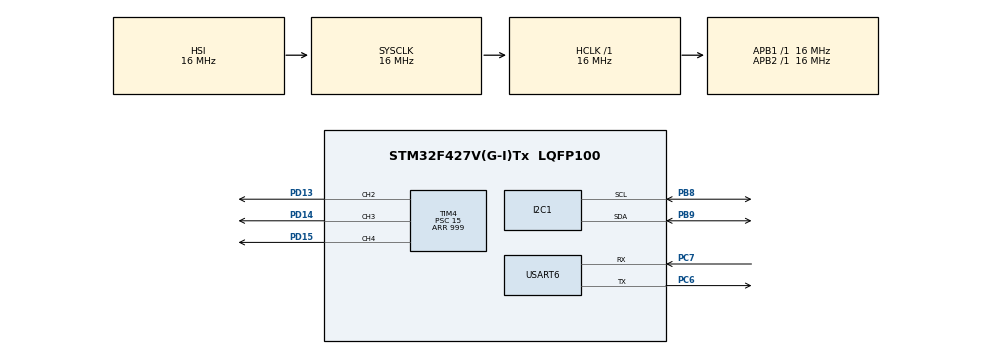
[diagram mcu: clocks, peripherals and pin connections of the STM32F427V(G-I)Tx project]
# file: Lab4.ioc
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I2C1.I2C_Mode=I2C_Fast
Mcu.Family=STM32F4
Mcu.Name=STM32F427V(G-I)Tx
Mcu.Package=LQFP100
NVIC.PriorityGroup=NVIC_PRIORITYGROUP_4
NVIC.TIM6_DAC_IRQn=true\:0\:0\:false\:false\:true\:true\:true\:true
NVIC.USART6_IRQn=true\:0\:0\:false\:false\:true\:true\:true\:true
PA13.Mode=JTAG_5_pins
PA13.Signal=SYS_JTMS-SWDIO
PA14.Mode=JTAG_5_pins
PA14.Signal=SYS_JTCK-SWCLK
PA15.Mode=JTAG_5_pins
PA15.Signal=SYS_JTDI
PB3.Mode=JTAG_5_pins
PB3.Signal=SYS_JTDO-SWO
PB4.Mode=JTAG_5_pins
PB4.Signal=SYS_JTRST
PB8.Mode=I2C
PB8.Signal=I2C1_SCL
PB9.Mode=I2C
PB9.Signal=I2C1_SDA
PC6.Mode=Asynchronous
PC6.Signal=USART6_TX
PC7.Mode=Asynchronous
PC7.Signal=USART6_RX
PD13.Signal=S_TIM4_CH2
PD14.Signal=S_TIM4_CH3
PD15.Signal=S_TIM4_CH4
ProjectManager.HeapSize=0x200
ProjectManager.StackSize=0x400
ProjectManager.TargetToolchain=STM32CubeIDE
RCC.AHBFreq_Value=16000000
RCC.APB1Freq_Value=16000000
RCC.APB2Freq_Value=16000000
RCC.CortexFreq_Value=16000000
RCC.HSE_VALUE=25000000
RCC.HSI_VALUE=16000000
RCC.LSE_VALUE=32768
RCC.SYSCLKFreq_VALUE=16000000
RCC.VCOOutputFreq_Value=192000000
SH.S_TIM4_CH2.0=TIM4_CH2,PWM Generation2 CH2
SH.S_TIM4_CH3.0=TIM4_CH3,PWM Generation3 CH3
SH.S_TIM4_CH4.0=TIM4_CH4,PWM Generation4 CH4
TIM4.Channel-PWM\ Generation2\ CH2=TIM_CHANNEL_2
TIM4.Channel-PWM\ Generation3\ CH3=TIM_CHANNEL_3
TIM4.Channel-PWM\ Generation4\ CH4=TIM_CHANNEL_4
TIM4.Period=999
TIM4.Prescaler=15
USART6.VirtualMode=VM_ASYNC
VP_TIM6_VS_ClockSourceINT.Mode=Enable_Timer
board=custom

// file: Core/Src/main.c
/* USER CODE BEGIN Header */
/**
  ******************************************************************************
  * @file           : main.c
  * @brief          : Main program body
  ******************************************************************************
  * @attention
  *
  * Copyright (c) 2024 STMicroelectronics.
  * All rights reserved.
  *
  * This software is licensed under terms that can be found in the LICENSE file
  * in the root directory of this software component.
  * If no LICENSE file comes with this software, it is provided AS-IS.
  *
  ******************************************************************************
  */
/* USER CODE END Header */
#include "main.h"
#include "i2c.h"
#include "tim.h"
#include "usart.h"
#include "gpio.h"

/* USER CODE BEGIN Includes */
#include "buf.h"
#include "btn.h"
#include "keyboard.h"
#include <stdio.h>
/* USER CODE END Includes */

/* USER CODE BEGIN PD */
#define ST_MAIN             0  /* main work mode */
#define ST_EDIT_WAIT_MODE   1  /* edit mode, wait for mode selection */
#define ST_EDIT_WAIT_LED    2  /* edit mode, wait for led selection */
#define ST_EDIT_WAIT_BRIGHT 3  /* edit mode, wait for led brightness selection */
#define ST_DEBUG            4  /* debug mode */
/* USER CODE END PD */

void SystemClock_Config(void);

/* USER CODE BEGIN 0 */
struct Buffer transmitBuffer = {0};

uint8_t char_buf[1] = {'\0'};

void transmit(uint8_t* data, size_t size) {
	if (HAL_UART_Transmit_IT(&huart6, data, size) == HAL_BUSY) {
		buf_push_itsafe(&transmitBuffer, data, size);
	}
}

void transmitc(char* data) {
	transmit((uint8_t*) data, strlen(data));
}

void HAL_UART_TxCpltCallback(UART_HandleTypeDef *huart) {
  uint8_t buf[1024];
  bool is_pop = buf_pop_itsafe(&transmitBuffer, buf, sizeof(buf));
  if (is_pop) {
	  HAL_UART_Transmit_IT(&huart6, buf, strlen((char*) buf));
  }
}

bool hello_print = false;

uint16_t mode_leds[9] = {0x1, 0x1, 0x1, 0x2, 0x2, 0x2, 0x4, 0x4, 0x4};
uint16_t mode_brightness[9] = {10, 40, 100, 10, 40, 100, 10, 40, 100};

uint16_t state = ST_MAIN;

size_t cur_mode = -1;

size_t edit_mode = 0;
uint16_t edit_mode_led = 0;
uint16_t edit_mode_brightness = 0;

void HAL_TIM_PeriodElapsedCallback(TIM_HandleTypeDef *htim) {
	  if (htim->Instance == TIM6) {
		  if (cur_mode != -1) {
			  if (cur_mode >= sizeof(mode_leds) / sizeof(uint16_t)) {
				  htim4.Instance->CCR2 = 0;
				  htim4.Instance->CCR3 = 0;
				  htim4.Instance->CCR4 = 0;
			  } else {
				  uint16_t leds = mode_leds[cur_mode];
				  uint16_t brightness = mode_brightness[cur_mode];

				  if ((leds & 0x1) != 0) {
					  htim4.Instance->CCR2 = brightness * 10;
				  } else {
					  htim4.Instance->CCR2 = 0;
				  }

				  if ((leds & 0x2) != 0) {
					  htim4.Instance->CCR3 = brightness * 10;
				  } else {
					  htim4.Instance->CCR3 = 0;
				  }

				  if ((leds & 0x4) != 0) {
					  htim4.Instance->CCR4 = brightness * 10;
				  } else {
					  htim4.Instance->CCR4 = 0;
				  }
			  }

			  cur_mode = -1;
		  }
	  }
}
/* USER CODE END 0 */

int main(void)
{

  /* MCU Configuration--------------------------------------------------------*/

  /* Reset of all peripherals, Initializes the Flash interface and the Systick. */
  HAL_Init();

  /* USER CODE BEGIN Init */
  buf_init(&transmitBuffer);
  /* USER CODE END Init */

  /* Configure the system clock */
  SystemClock_Config();

  /* Initialize all configured peripherals */
  MX_GPIO_Init();
  MX_TIM6_Init();
  MX_USART6_UART_Init();
  MX_TIM4_Init();
  MX_I2C1_Init();
  /* USER CODE BEGIN 2 */
  char leds_str(uint16_t leds) {
  	  if (leds == 0x1) return 'G';
  	  if (leds == 0x2) return 'Y';
  	  if (leds == 0x4) return 'R';
  	  return '?';
    }

    void print_mode_message() {
  	  char buf[256];

  	  char mode_leds_str[9] = {0};
  	  for (size_t i = 0; i < sizeof(mode_leds_str); i++) {
  		  mode_leds_str[i] = leds_str(mode_leds[i]);
  	  }

  	  char format[] = "Modes:\n\r1-%c%d\n\r2-%c%d\n\r3-%c%d\n\r4-%c%d\n\r5-%c%d\n\r6-%c%d\n\r7-%c%d\n\r8-%c%d\n\r9-%c%d\n\r> ";

  	  snprintf(buf, sizeof(buf), format,
  			  mode_leds_str[0], mode_brightness[0], mode_leds_str[1], mode_brightness[1], mode_leds_str[2], mode_brightness[2],
  			  mode_leds_str[3], mode_brightness[3], mode_leds_str[4], mode_brightness[4], mode_leds_str[5], mode_brightness[5],
  			  mode_leds_str[6], mode_brightness[6], mode_leds_str[7], mode_brightness[7], mode_leds_str[8], mode_brightness[8]);

  	  transmitc(buf);
    }

    void handle_command(char cmd) {
  	  if (state == ST_MAIN) {
  		  if (cmd >= '1' && cmd <= '9') {
  			  cur_mode = (cmd - '1');
  			  char buf[32];
  			  snprintf(buf, sizeof(buf), "Mode %c selected\n\r> ", cmd);
  			  transmitc(buf);
  		  } else if (cmd == '0') {
  			  cur_mode = 100;
  			  transmitc("All LEDs off\n\r> ");
  		  } else if (cmd == '\r') {
  			  state = ST_EDIT_WAIT_MODE;
  			  edit_mode = -1;
  			  transmitc("Enter edit mode\n\rChoose mode to edit [1-9]: ");
  		  } else {
  			  transmitc("Unknown command (available: 1-9,0,Enter)\n\r> ");
  		  }
  	  } else if (state == ST_EDIT_WAIT_MODE) {
  		  if (cmd >= '1' && cmd <= '9') {
  			  edit_mode = (cmd - '1');
  			  char buf[128];
  			  snprintf(buf, sizeof(buf), "Selected %c. Enter or choose another mode [1-9]: ", ('1' + edit_mode));
  			  transmitc(buf);
  		  } else if (cmd == '\r') {
  			  if (edit_mode == -1) {
  				  transmitc("No mode selected. Choose mode to edit [1-9]: ");
  			  } else {
  				  state = ST_EDIT_WAIT_LED;
  				  edit_mode_led = 0;
  				  transmitc("Choose led for mode [g,y,r]: ");
  			  }
  		  } else {
  			  if (edit_mode == -1) {
  				  transmitc("Unknown. Choose mode to edit [1-9]: ");
  			  } else {
  				  char buf[128];
  				  snprintf(buf, sizeof(buf), "Selected %c. Enter or choose another mode [1-9]: ", ('1' + edit_mode));
  				  transmitc(buf);
  			  }
  		  }
  	  } else if (state == ST_EDIT_WAIT_LED) {
  		  if (cmd == 'g') {
  			  edit_mode_led = 0x1;
  			  transmitc("Green led. Enter or choose another led [g,y,r]: ");
  		  } else if (cmd == 'y') {
  			  edit_mode_led = 0x2;
  			  transmitc("Yellow led. Enter or choose another led [g,y,r]: ");
  		  } else if (cmd == 'r') {
  			  edit_mode_led = 0x4;
  			  transmitc("Red led. Enter or choose another led [g,y,r]: ");
  		  } else if (cmd == '\r') {
  			  if (edit_mode_led == 0) {
  				  transmitc("No led. Choose led for mode [g,y,r]: ");
  			  } else {
  				  state = ST_EDIT_WAIT_BRIGHT;
  				  edit_mode_brightness = 40;
  				  transmitc("40%. Enter or choose another brightness: ");
  			  }
  		  } else {
  			  if (edit_mode_led == 0) {
  				  transmitc("Unknown. Choose led for mode [g,y,r]: ");
  			  } else {
  				  char buf[128];
  				  char *led = (edit_mode_led == 0x1 ? "Green" : edit_mode_led == 0x2 ? "Yellow" : "Red");
  				  snprintf(buf, sizeof(buf), "%s led. Enter or choose another led [g,y,r]: ", led);
  				  transmitc(buf);
  			  }
  		  }
  	  } else if (state == ST_EDIT_WAIT_BRIGHT) {
  		  if (cmd >= '1' && cmd <= '9') {
  			  edit_mode_brightness = (cmd - '0') * 10;
  			  char buf[128];
  			  snprintf(buf, sizeof(buf), "%d%%. Enter or choose another: ", edit_mode_brightness);
  			  transmitc(buf);
  		  } else if (cmd == '0') {
  			  edit_mode_brightness = 100;
  			  transmitc("100%. Enter or choose another: ");
  		  } else if (cmd == '+') {
  			  edit_mode_brightness += 10;
  			  if (edit_mode_brightness > 100) edit_mode_brightness = 100;
  			  char buf[128];
  			  snprintf(buf, sizeof(buf), "%d%%. Enter or choose another: ", edit_mode_brightness);
  			  transmitc(buf);
  		  } else if (cmd == '-') {
  			  edit_mode_brightness -= 10;
  			  if (edit_mode_brightness < 10) edit_mode_brightness = 10;
  			  char buf[128];
  			  snprintf(buf, sizeof(buf), "%d%%. Enter or choose another: ", edit_mode_brightness);
  			  transmitc(buf);
  		  } else if (cmd == '\r') {
  			  state = ST_MAIN;
  			  mode_leds[edit_mode] = edit_mode_led;
  			  mode_brightness[edit_mode] = edit_mode_brightness;
  			  transmitc("Exit edit mode");
  			  print_mode_message();
  		  } else {
  			  char buf[128];
  			  snprintf(buf, sizeof(buf), "Unknown. %d%%. Enter or choose another: ", edit_mode_brightness);
  			  transmitc(buf);
  		  }
  	  } else if (state == ST_DEBUG) {
  		  if ((cmd >= '0' && cmd <= '9') || cmd == '*' || cmd == '#') {
  			  transmitc("> ");
  		  }
  	  }
    }

    char parse_pressed_button(uint16_t* keyboard) {
    	if (state == ST_MAIN) {
			if (KBRD_IsSet(keyboard, BTN_1)) return '1';
			if (KBRD_IsSet(keyboard, BTN_2)) return '4';
			if (KBRD_IsSet(keyboard, BTN_3)) return '7';
			if (KBRD_IsSet(keyboard, BTN_4)) return 0;
			if (KBRD_IsSet(keyboard, BTN_5)) return '2';
			if (KBRD_IsSet(keyboard, BTN_6)) return '5';
			if (KBRD_IsSet(keyboard, BTN_7)) return '8';
			if (KBRD_IsSet(keyboard, BTN_8)) return '0';
			if (KBRD_IsSet(keyboard, BTN_9)) return '3';
			if (KBRD_IsSet(keyboard, BTN_10)) return '6';
			if (KBRD_IsSet(keyboard, BTN_11)) return '9';
			if (KBRD_IsSet(keyboard, BTN_12)) return '\r';
			return 0;
		} else if (state == ST_EDIT_WAIT_MODE) {
			if (KBRD_IsSet(keyboard, BTN_1)) return '1';
			if (KBRD_IsSet(keyboard, BTN_2)) return '4';
			if (KBRD_IsSet(keyboard, BTN_3)) return '7';
			if (KBRD_IsSet(keyboard, BTN_4)) return 0;
			if (KBRD_IsSet(keyboard, BTN_5)) return '2';
			if (KBRD_IsSet(keyboard, BTN_6)) return '5';
			if (KBRD_IsSet(keyboard, BTN_7)) return '8';
			if (KBRD_IsSet(keyboard, BTN_8)) return 0;
			if (KBRD_IsSet(keyboard, BTN_9)) return '3';
			if (KBRD_IsSet(keyboard, BTN_10)) return '6';
			if (KBRD_IsSet(keyboard, BTN_11)) return '9';
			if (KBRD_IsSet(keyboard, BTN_12)) return '\r';
			return 0;
		} else if (state == ST_EDIT_WAIT_LED) {
			if (KBRD_IsSet(keyboard, BTN_1)) return 'g';
			if (KBRD_IsSet(keyboard, BTN_2)) return 0;
			if (KBRD_IsSet(keyboard, BTN_3)) return 0;
			if (KBRD_IsSet(keyboard, BTN_4)) return 0;
			if (KBRD_IsSet(keyboard, BTN_5)) return 'y';
			if (KBRD_IsSet(keyboard, BTN_6)) return 0;
			if (KBRD_IsSet(keyboard, BTN_7)) return 0;
			if (KBRD_IsSet(keyboard, BTN_8)) return 0;
			if (KBRD_IsSet(keyboard, BTN_9)) return 'r';
			if (KBRD_IsSet(keyboard, BTN_10)) return 0;
			if (KBRD_IsSet(keyboard, BTN_11)) return 0;
			if (KBRD_IsSet(keyboard, BTN_12)) return '\r';
			return 0;
		} else if (state == ST_EDIT_WAIT_BRIGHT) {
			if (KBRD_IsSet(keyboard, BTN_1)) return '1';
			if (KBRD_IsSet(keyboard, BTN_2)) return '4';
			if (KBRD_IsSet(keyboard, BTN_3)) return '7';
			if (KBRD_IsSet(keyboard, BTN_4)) return '-';
			if (KBRD_IsSet(keyboard, BTN_5)) return '2';
			if (KBRD_IsSet(keyboard, BTN_6)) return '5';
			if (KBRD_IsSet(keyboard, BTN_7)) return '8';
			if (KBRD_IsSet(keyboard, BTN_8)) return '+';
			if (KBRD_IsSet(keyboard, BTN_9)) return '3';
			if (KBRD_IsSet(keyboard, BTN_10)) return '6';
			if (KBRD_IsSet(keyboard, BTN_11)) return '9';
			if (KBRD_IsSet(keyboard, BTN_12)) return '\r';
			return 0;
		} else if (state == ST_DEBUG) {
			if (KBRD_IsSet(keyboard, BTN_1)) return '1';
			if (KBRD_IsSet(keyboard, BTN_2)) return '4';
			if (KBRD_IsSet(keyboard, BTN_3)) return '7';
			if (KBRD_IsSet(keyboard, BTN_4)) return '*';
			if (KBRD_IsSet(keyboard, BTN_5)) return '2';
			if (KBRD_IsSet(keyboard, BTN_6)) return '5';
			if (KBRD_IsSet(keyboard, BTN_7)) return '8';
			if (KBRD_IsSet(keyboard, BTN_8)) return '0';
			if (KBRD_IsSet(keyboard, BTN_9)) return '3';
			if (KBRD_IsSet(keyboard, BTN_10)) return '6';
			if (KBRD_IsSet(keyboard, BTN_11)) return '9';
			if (KBRD_IsSet(keyboard, BTN_12)) return '#';
			return 0;
		}
    	return 0;
    }

    if (!hello_print) {
  	  hello_print = true;
  	  transmitc("\n\r\n\rProgramm started\n\r");
  	  print_mode_message();
    }

    cur_mode = 0;

    HAL_TIM_PWM_Start(&htim4, TIM_CHANNEL_2);
    HAL_TIM_PWM_Start(&htim4, TIM_CHANNEL_3);
    HAL_TIM_PWM_Start(&htim4, TIM_CHANNEL_4);
    HAL_TIM_Base_Start_IT(&htim6);
    KBRD_Init();

    uint16_t btn_state;
    uint16_t kbrd_state;
  /* USER CODE END 2 */

  /* Infinite loop */
  /* USER CODE BEGIN WHILE */
  while (1)
  {
	  BTN_GetState(&btn_state);

	  if (BTN_IsSet(&btn_state, BTN_DOWN_EVENT)) {
		  if (state == ST_MAIN) {
			  state = ST_DEBUG;
			  transmitc("\n\rDebug mode entered\n\r> ");
		  } else if (state == ST_DEBUG) {
			  state = ST_MAIN;
			  transmitc("\n\rDebug mode exit\n\r");
		  	  print_mode_message();
		  }
		  continue;
	  }

	  KBRD_GetState(&kbrd_state);

	  char c = parse_pressed_button(&kbrd_state);

	  if (c != 0) {
		  if (c == '\r') {
			  transmitc("Enter");
		  } else {
			  transmit((uint8_t*) &c, 1);
		  }
		  transmitc("\n\r");
		  handle_command(c);
	  }
    /* USER CODE END WHILE */

    /* USER CODE BEGIN 3 */
  }

  if (hello_print) {
  	  hello_print = false;
  	  transmitc("\n\rProgramm finished\n\r");
  }
  /* USER CODE END 3 */
}

void SystemClock_Config(void)
{
  RCC_OscInitTypeDef RCC_OscInitStruct = {0};
  RCC_ClkInitTypeDef RCC_ClkInitStruct = {0};

  /** Configure the main internal regulator output voltage
  */
  __HAL_RCC_PWR_CLK_ENABLE();
  __HAL_PWR_VOLTAGESCALING_CONFIG(PWR_REGULATOR_VOLTAGE_SCALE3);

  /** Initializes the RCC Oscillators according to the specified parameters
  * in the RCC_OscInitTypeDef structure.
  */
  RCC_OscInitStruct.OscillatorType = RCC_OSCILLATORTYPE_HSI;
  RCC_OscInitStruct.HSIState = RCC_HSI_ON;
  RCC_OscInitStruct.HSICalibrationValue = RCC_HSICALIBRATION_DEFAULT;
  RCC_OscInitStruct.PLL.PLLState = RCC_PLL_NONE;
  if (HAL_RCC_OscConfig(&RCC_OscInitStruct) != HAL_OK)
  {
    Error_Handler();
  }

  /** Initializes the CPU, AHB and APB buses clocks
  */
  RCC_ClkInitStruct.ClockType = RCC_CLOCKTYPE_HCLK|RCC_CLOCKTYPE_SYSCLK
                              |RCC_CLOCKTYPE_PCLK1|RCC_CLOCKTYPE_PCLK2;
  RCC_ClkInitStruct.SYSCLKSource = RCC_SYSCLKSOURCE_HSI;
  RCC_ClkInitStruct.AHBCLKDivider = RCC_SYSCLK_DIV1;
  RCC_ClkInitStruct.APB1CLKDivider = RCC_HCLK_DIV1;
  RCC_ClkInitStruct.APB2CLKDivider = RCC_HCLK_DIV1;

  if (HAL_RCC_ClockConfig(&RCC_ClkInitStruct, FLASH_LATENCY_0) != HAL_OK)
  {
    Error_Handler();
  }
}

void Error_Handler(void)
{
  __disable_irq();
  while (1)
  {
  }
}
